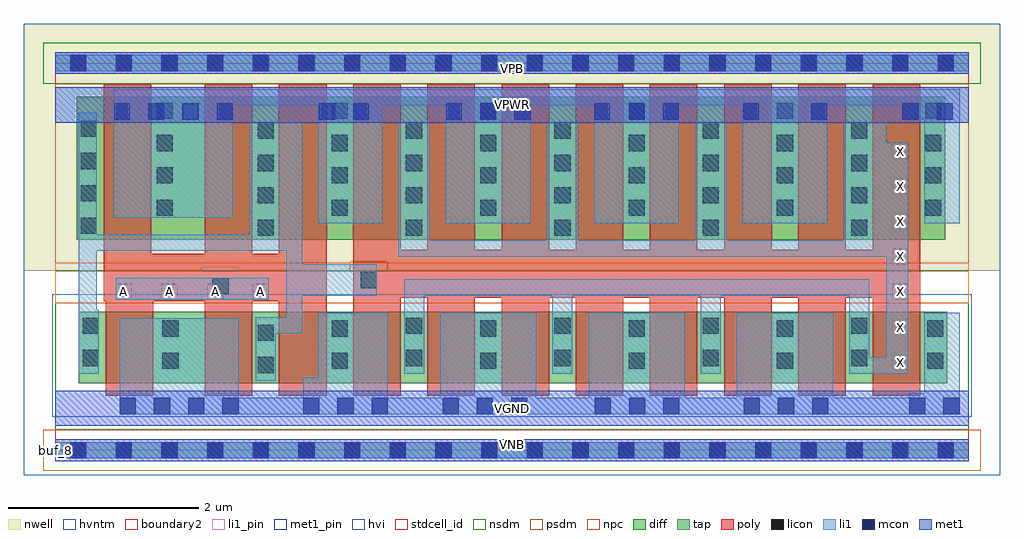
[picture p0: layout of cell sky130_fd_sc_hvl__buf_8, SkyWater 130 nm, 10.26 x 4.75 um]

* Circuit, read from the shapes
.subckt sky130_fd_sc_hvl__buf_8 A VGND VNB VPB VPWR X
XM1 VGND A n1 VNB sky130_fd_pr__nfet_g5v0d10v5 w=0.75 l=0.5 m=3
XM2 X n1 VGND VNB sky130_fd_pr__nfet_g5v0d10v5 w=0.75 l=0.5 m=8
XM3 VPWR A n1 VPB sky130_fd_pr__pfet_g5v0d10v5 w=1.5 l=0.5 m=3
XM4 X n1 VPWR VPB sky130_fd_pr__pfet_g5v0d10v5 w=1.5 l=0.5 m=8
.ends

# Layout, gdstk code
import gdstk
lib = gdstk.Library(unit=1e-6, precision=1e-09)
def R(c, l, rs):  # rectangles x0, y0, x1, y1
    for r in rs: c.add(gdstk.rectangle(r[:2], r[2:], *l))
def A(c, l, x, y, w, h, nx, ny, dx, dy):  # array of equal rectangles
    R(c, l, [(x+i*dx, y+j*dy, x+i*dx+w, y+j*dy+h) for i in range(nx) for j in range(ny)])
def P(c, l, *ps):  # polygons
    for p in ps: c.add(gdstk.Polygon(p, *l))
nwell = (64, 20)
diff = (65, 20)
tap = (65, 44)
poly = (66, 20)
licon = (66, 44)
li1_pin = (67, 16)
li1 = (67, 20)
mcon = (67, 44)
met1_pin = (68, 16)
met1 = (68, 20)
hvi = (75, 20)
stdcell_id = (81, 4)
nsdm = (93, 44)
psdm = (94, 20)
npc = (95, 20)
hvntm = (125, 20)
boundary2 = (236, 0)

sky130_fd_sc_hvl__buf_8 = lib.new_cell('sky130_fd_sc_hvl__buf_8')
R(sky130_fd_sc_hvl__buf_8, nwell, [(-0.33,1.885,9.93,4.485)])
R(sky130_fd_sc_hvl__buf_8, diff, [(0.245,0.705,9.375,1.455), (0.225,2.215,9.355,3.715)])
R(sky130_fd_sc_hvl__buf_8, tap, [(0,-0.085,9.6,0.085), (0,3.985,9.6,4.155)])
P(sky130_fd_sc_hvl__buf_8, poly, [(2.85,3.845),(2.35,3.845),(2.35,2.065),(2.07,2.065),(2.07,3.845),(1.57,3.845),(1.57,2.065),(1.01,2.065),(1.01,3.845),(0.51,3.845),(0.51,1.565),(0.53,1.565),(0.53,0.575),(1.03,0.575),(1.03,1.565),(1.57,1.565),(1.57,0.575),(2.07,0.575),(2.07,1.565),(2.35,1.565),(2.35,0.575),(2.85,0.575)],
  [(9.09,3.845),(8.59,3.845),(8.59,2.105),(8.31,2.105),(8.31,3.845),(7.81,3.845),(7.81,2.105),(7.53,2.105),(7.53,3.845),(7.03,3.845),(7.03,2.105),(6.75,2.105),(6.75,3.845),(6.25,3.845),(6.25,2.105),(5.97,2.105),(5.97,3.845),(5.47,3.845),(5.47,2.105),(5.19,2.105),(5.19,3.845),(4.69,3.845),(4.69,2.105),(4.41,2.105),(4.41,3.845),(3.91,3.845),(3.91,2.105),(3.63,2.105),(3.63,3.845),(3.13,3.845),(3.13,0.575),(3.63,0.575),(3.63,1.605),(3.91,1.605),(3.91,0.575),(4.41,0.575),(4.41,1.605),(4.69,1.605),(4.69,0.575),(5.19,0.575),(5.19,1.605),(5.47,1.605),(5.47,0.575),(5.97,0.575),(5.97,1.605),(6.25,1.605),(6.25,0.575),(6.75,0.575),(6.75,1.605),(7.03,1.605),(7.03,0.575),(7.53,0.575),(7.53,1.605),(7.81,1.605),(7.81,0.575),(8.31,0.575),(8.31,1.605),(8.59,1.605),(8.59,0.575),(9.09,0.575)])
A(sky130_fd_sc_hvl__buf_8, licon, 0.155, -0.085, 0.17, 0.17, 20, 2, 0.48, 4.07)
A(sky130_fd_sc_hvl__buf_8, licon, 2.905, 0.855, 0.17, 0.17, 4, 2, 1.56, 0.34)
A(sky130_fd_sc_hvl__buf_8, licon, 3.685, 0.885, 0.17, 0.17, 4, 2, 1.56, 0.34)
A(sky130_fd_sc_hvl__buf_8, licon, 2.125, 2.255, 0.17, 0.17, 5, 4, 1.56, 0.34)
A(sky130_fd_sc_hvl__buf_8, licon, 0.265, 2.275, 0.17, 0.17, 1, 4, 0, 0.34)
A(sky130_fd_sc_hvl__buf_8, licon, 1.065, 2.465, 0.17, 0.17, 1, 4, 0, 0.34)
A(sky130_fd_sc_hvl__buf_8, licon, 2.905, 2.465, 0.17, 0.17, 5, 4, 1.56, 0.34)
R(sky130_fd_sc_hvl__buf_8, licon, [(2.125,0.81,2.295,0.98), (1.125,0.855,1.295,1.025), (9.165,0.855,9.335,1.025), (0.285,0.885,0.455,1.055), (2.125,1.15,2.295,1.32), (1.125,1.195,1.295,1.365), (9.165,1.195,9.335,1.365), (0.285,1.225,0.455,1.395), (1.65,1.645,1.82,1.815), (3.21,1.705,3.38,1.875)])
A(sky130_fd_sc_hvl__buf_8, li1_pin, 8.795, 0.84, 0.17, 0.17, 1, 7, 0, 0.37)
A(sky130_fd_sc_hvl__buf_8, li1_pin, 0.635, 1.58, 0.17, 0.17, 4, 1, 0.48, 0)
R(sky130_fd_sc_hvl__buf_8, li1, [(0,-0.085,9.6,0.085), (0.635,1.58,2.245,1.815), (0,3.985,9.6,4.155)])
P(sky130_fd_sc_hvl__buf_8, li1, [(3.38,1.955),(2.595,1.955),(2.595,3.445),(2.045,3.445),(2.045,2.265),(0.435,2.265),(0.435,3.545),(0.245,3.545),(0.245,0.805),(0.455,0.805),(0.455,1.475),(0.435,1.475),(0.435,2.095),(2.425,2.095),(2.425,1.4),(2.105,1.4),(2.105,0.73),(2.315,0.73),(2.315,1.23),(2.595,1.23),(2.595,1.625),(3.38,1.625)],
  [(8.965,3.23),(8.735,3.23),(8.735,3.445),(8.285,3.445),(8.285,2.205),(7.055,2.205),(7.055,3.445),(6.725,3.445),(6.725,2.205),(5.495,2.205),(5.495,3.445),(5.165,3.445),(5.165,2.205),(3.935,2.205),(3.935,3.445),(3.605,3.445),(3.605,2.035),(8.735,2.035),(8.735,0.975),(8.555,0.975),(8.555,1.795),(3.665,1.795),(3.665,0.805),(3.875,0.805),(3.875,1.625),(5.225,1.625),(5.225,0.805),(5.435,0.805),(5.435,1.625),(6.785,1.625),(6.785,0.805),(6.995,0.805),(6.995,1.625),(8.345,1.625),(8.345,0.805),(8.965,0.805)],
  [(9.505,3.795),(0.615,3.795),(0.615,2.445),(1.865,2.445),(1.865,3.625),(2.765,3.625),(2.765,2.385),(3.435,2.385),(3.435,3.625),(4.105,3.625),(4.105,2.385),(4.995,2.385),(4.995,3.625),(5.665,3.625),(5.665,2.385),(6.555,2.385),(6.555,3.625),(7.225,3.625),(7.225,2.385),(8.115,2.385),(8.115,3.625),(8.905,3.625),(8.905,3.475),(9.135,3.475),(9.135,2.385),(9.505,2.385)],
  [(9.505,1.445),(9.135,1.445),(9.135,0.6),(8.975,0.6),(8.975,0.55),(8.175,0.55),(8.175,1.445),(7.165,1.445),(7.165,0.55),(6.615,0.55),(6.615,1.445),(5.605,1.445),(5.605,0.55),(5.055,0.55),(5.055,1.445),(4.045,1.445),(4.045,0.55),(3.495,0.55),(3.495,1.445),(2.765,1.445),(2.765,0.76),(2.605,0.76),(2.605,0.55),(1.925,0.55),(1.925,1.385),(0.675,1.385),(0.675,0.38),(9.505,0.38)])
A(sky130_fd_sc_hvl__buf_8, mcon, 0.675, 0.38, 0.17, 0.17, 4, 1, 0.36, 0)
A(sky130_fd_sc_hvl__buf_8, mcon, 2.605, 0.38, 0.17, 0.17, 3, 1, 0.36, 0)
A(sky130_fd_sc_hvl__buf_8, mcon, 4.07, 0.38, 0.17, 0.17, 3, 1, 0.36, 0)
A(sky130_fd_sc_hvl__buf_8, mcon, 5.67, 0.38, 0.17, 0.17, 3, 1, 0.36, 0)
A(sky130_fd_sc_hvl__buf_8, mcon, 7.235, 0.38, 0.17, 0.17, 3, 1, 0.36, 0)
A(sky130_fd_sc_hvl__buf_8, mcon, 0.615, 3.475, 0.17, 0.17, 4, 1, 0.36, 0)
A(sky130_fd_sc_hvl__buf_8, mcon, 4.105, 3.475, 0.17, 0.17, 3, 1, 0.36, 0)
A(sky130_fd_sc_hvl__buf_8, mcon, 5.665, 3.475, 0.17, 0.17, 3, 1, 0.36, 0)
R(sky130_fd_sc_hvl__buf_8, mcon, [(0.155,-0.085,0.325,0.085), (0.155,-0.085,0.325,0.085), (0.635,-0.085,0.805,0.085), (0.635,-0.085,0.805,0.085), (1.115,-0.085,1.285,0.085), (1.115,-0.085,1.285,0.085), (1.595,-0.085,1.765,0.085), (1.595,-0.085,1.765,0.085), (2.075,-0.085,2.245,0.085), (2.075,-0.085,2.245,0.085), (2.555,-0.085,2.725,0.085), (2.555,-0.085,2.725,0.085), (3.035,-0.085,3.205,0.085), (3.035,-0.085,3.205,0.085), (3.515,-0.085,3.685,0.085), (3.515,-0.085,3.685,0.085), (3.995,-0.085,4.165,0.085), (3.995,-0.085,4.165,0.085), (4.475,-0.085,4.645,0.085), (4.475,-0.085,4.645,0.085), (4.955,-0.085,5.125,0.085), (4.955,-0.085,5.125,0.085), (5.435,-0.085,5.605,0.085), (5.435,-0.085,5.605,0.085), (5.915,-0.085,6.085,0.085), (5.915,-0.085,6.085,0.085), (6.395,-0.085,6.565,0.085), (6.395,-0.085,6.565,0.085), (6.875,-0.085,7.045,0.085), (6.875,-0.085,7.045,0.085), (7.355,-0.085,7.525,0.085), (7.355,-0.085,7.525,0.085), (7.835,-0.085,8.005,0.085), (7.835,-0.085,8.005,0.085), (8.315,-0.085,8.485,0.085), (8.315,-0.085,8.485,0.085), (8.795,-0.085,8.965,0.085), (8.795,-0.085,8.965,0.085), (9.275,-0.085,9.445,0.085), (9.275,-0.085,9.445,0.085), (8.975,0.38,9.145,0.55), (9.335,0.38,9.505,0.55), (2.77,3.475,2.94,3.645), (3.13,3.475,3.3,3.645), (7.23,3.475,7.4,3.645), (7.945,3.475,8.115,3.645), (8.905,3.475,9.075,3.645), (9.265,3.475,9.435,3.645), (0.155,3.985,0.325,4.155), (0.155,3.985,0.325,4.155), (0.635,3.985,0.805,4.155), (0.635,3.985,0.805,4.155), (1.115,3.985,1.285,4.155), (1.115,3.985,1.285,4.155), (1.595,3.985,1.765,4.155), (1.595,3.985,1.765,4.155), (2.075,3.985,2.245,4.155), (2.075,3.985,2.245,4.155), (2.555,3.985,2.725,4.155), (2.555,3.985,2.725,4.155), (3.035,3.985,3.205,4.155), (3.035,3.985,3.205,4.155), (3.515,3.985,3.685,4.155), (3.515,3.985,3.685,4.155), (3.995,3.985,4.165,4.155), (3.995,3.985,4.165,4.155), (4.475,3.985,4.645,4.155), (4.475,3.985,4.645,4.155), (4.955,3.985,5.125,4.155), (4.955,3.985,5.125,4.155), (5.435,3.985,5.605,4.155), (5.435,3.985,5.605,4.155), (5.915,3.985,6.085,4.155), (5.915,3.985,6.085,4.155), (6.395,3.985,6.565,4.155), (6.395,3.985,6.565,4.155), (6.875,3.985,7.045,4.155), (6.875,3.985,7.045,4.155), (7.355,3.985,7.525,4.155), (7.355,3.985,7.525,4.155), (7.835,3.985,8.005,4.155), (7.835,3.985,8.005,4.155), (8.315,3.985,8.485,4.155), (8.315,3.985,8.485,4.155), (8.795,3.985,8.965,4.155), (8.795,3.985,8.965,4.155), (9.275,3.985,9.445,4.155), (9.275,3.985,9.445,4.155)])
R(sky130_fd_sc_hvl__buf_8, met1_pin, [(0,0,9.6,0.115), (0,0,9.6,0.115), (0,0.255,9.6,0.625), (0,3.445,9.6,3.815), (0,3.955,9.6,4.07), (0,3.955,9.6,4.07)])
R(sky130_fd_sc_hvl__buf_8, met1, [(0,-0.115,9.6,0.115), (0,0.255,9.6,0.625), (0,3.445,9.6,3.815), (0,3.955,9.6,4.185)])
R(sky130_fd_sc_hvl__buf_8, hvi, [(-0.33,-0.265,9.93,4.485)])
R(sky130_fd_sc_hvl__buf_8, stdcell_id, [(0,0,9.6,4.07)])
R(sky130_fd_sc_hvl__buf_8, nsdm, [(0,0.215,9.6,1.885), (-0.13,3.855,9.73,4.285), (0,3.855,9.6,4.07)])
R(sky130_fd_sc_hvl__buf_8, psdm, [(-0.13,-0.215,9.73,0.215)])
P(sky130_fd_sc_hvl__buf_8, psdm, [(9.6,3.855),(0,3.855),(0,1.885),(1.54,1.885),(1.54,1.925),(1.93,1.925),(1.93,1.885),(3.1,1.885),(3.1,1.985),(3.49,1.985),(3.49,1.885),(9.6,1.885)])
P(sky130_fd_sc_hvl__buf_8, npc, [(9.6,1.97),(3.48,1.97),(3.48,1.975),(3.11,1.975),(3.11,1.97),(0,1.97),(0,1.545),(9.6,1.545)])
R(sky130_fd_sc_hvl__buf_8, hvntm, [(-0.035,0.35,9.635,1.64)])
R(sky130_fd_sc_hvl__buf_8, boundary2, [(0,0,9.6,4.07)])
sky130_fd_sc_hvl__buf_8.add(gdstk.Label('buf_8', (0,0), layer=83, texttype=44))
sky130_fd_sc_hvl__buf_8.add(gdstk.Label('VNB', (4.8,0.058), layer=68, texttype=5))
sky130_fd_sc_hvl__buf_8.add(gdstk.Label('VPWR', (4.8,3.63), layer=68, texttype=5))
sky130_fd_sc_hvl__buf_8.add(gdstk.Label('VPB', (4.8,4.013), layer=68, texttype=5))
sky130_fd_sc_hvl__buf_8.add(gdstk.Label('VPB', (4.8,4.013), layer=68, texttype=5))
sky130_fd_sc_hvl__buf_8.add(gdstk.Label('VGND', (4.8,0.44), layer=68, texttype=5))
sky130_fd_sc_hvl__buf_8.add(gdstk.Label('VNB', (4.8,0.058), layer=68, texttype=5))
sky130_fd_sc_hvl__buf_8.add(gdstk.Label('X', (8.88,0.925), layer=67, texttype=5))
sky130_fd_sc_hvl__buf_8.add(gdstk.Label('X', (8.88,1.295), layer=67, texttype=5))
sky130_fd_sc_hvl__buf_8.add(gdstk.Label('X', (8.88,1.665), layer=67, texttype=5))
sky130_fd_sc_hvl__buf_8.add(gdstk.Label('X', (8.88,2.035), layer=67, texttype=5))
sky130_fd_sc_hvl__buf_8.add(gdstk.Label('X', (8.88,2.405), layer=67, texttype=5))
sky130_fd_sc_hvl__buf_8.add(gdstk.Label('X', (8.88,2.775), layer=67, texttype=5))
sky130_fd_sc_hvl__buf_8.add(gdstk.Label('X', (8.88,3.145), layer=67, texttype=5))
sky130_fd_sc_hvl__buf_8.add(gdstk.Label('A', (0.72,1.665), layer=67, texttype=5))
sky130_fd_sc_hvl__buf_8.add(gdstk.Label('A', (1.2,1.665), layer=67, texttype=5))
sky130_fd_sc_hvl__buf_8.add(gdstk.Label('A', (1.68,1.665), layer=67, texttype=5))
sky130_fd_sc_hvl__buf_8.add(gdstk.Label('A', (2.16,1.665), layer=67, texttype=5))

lib.write_gds('sky130_fd_sc_hvl__buf_8.gds')
